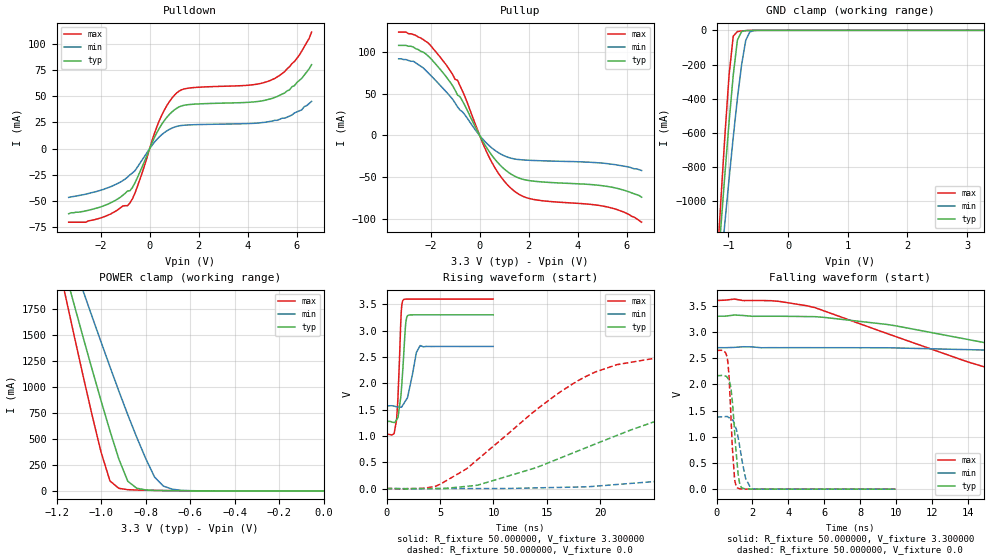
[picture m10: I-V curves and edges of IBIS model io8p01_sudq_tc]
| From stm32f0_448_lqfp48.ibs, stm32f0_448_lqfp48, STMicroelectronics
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|   Model io8p01_sudq_tc
[Model]  io8p01_sudq_tc
Model_type I/O
Polarity   Non-Inverting
Enable   Active-Low
Vinl =   0.990000V
Vinh =   2.310000V
Vmeas =  1.650000V
Cref =   50.000000pF
Rref =   100.000000M
Vref =   0.0V
C_comp   1.329900pF   1.255600pF   1.431200pF
[Temperature Range]   25.000000   0.125000k   -40.000000
[Pullup Reference]   3.300000V   2.700000V   3.600000V
[Pulldown Reference]   0.0V   0.0V   0.0V
[POWER Clamp Reference]   3.300000V   2.700000V   3.600000V
[GND Clamp Reference]   0.0V   0.0V   0.0V
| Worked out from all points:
|   slope of the pulldown table from 0 to 0.495 V, typ, clamps not added: 21.3 ohm
|   slope of the pullup table from 0 to 0.495 V, typ, clamps not added: 20.9 ohm
|   GND clamp passes 1 mA (typ) near -0.67 V on its own axis
|   POWER clamp passes 1 mA (typ) near -0.60 V on its own axis
|   rising waveform, R_fixture 50.000000, V_fixture 3.300000: 20-80 % time 415ps typ, 659ps min, 304ps max; typ from 1.27 V to 3.3 V
|   rising waveform, R_fixture 50.000000, V_fixture 0.0: 20-80 % time 18.4ns typ, 45.6ns min, 10.1ns max; typ from 0 V to 2.17 V
|   falling waveform, R_fixture 50.000000, V_fixture 3.300000: 20-80 % time 25.7ns typ, 44.2ns min, 16.4ns max; typ from 3.3 V to 1.27 V
|   falling waveform, R_fixture 50.000000, V_fixture 0.0: 20-80 % time 301ps typ, 443ps min, 235ps max; typ from 2.17 V to 0 V
[Pulldown]
|Voltage   I(typ)   I(min)   I(max)
-3.3V     -62mA      -46.4mA    -70mA
-2V       -55.5mA    -39.6mA    -66mA
-800mV    -40.04mA   -24.89mA   -51.58mA
-500mV    -27.57mA   -17.6mA    -36.07mA
400mV     19.71mA    11.36mA    27.01mA
700mV     29.83mA    16.93mA    40.97mA
1.1V      38.46mA    21.2mA     53.02mA
1.6V      41.98mA    22.62mA    57.7mA
4.1V      44.26mA    24mA       60.59mA
5V        47.9mA     26.3mA     65.8mA
5.9V      60mA       34mA       83mA
6.6V      80mA       45mA       111mA
[Pullup]
|Voltage   I(typ)   I(min)   I(max)
-3.3V     108mA      92mA       124mA
-2.7V     106mA      89mA       121mA
-2.2V     98mA       78.2mA     113mA
-1.4V     71.8mA     53.5mA     86.1mA
-900mV    48.51mA    34.23mA    66.14mA
-700mV    41.33mA    28.36mA    53.31mA
400mV     -19.77mA   -12.52mA   -26.8mA
900mV     -37.48mA   -22.89mA   -50.99mA
1.4V      -48.39mA   -28.06mA   -66.43mA
2.2V      -54.79mA   -29.98mA   -76.75mA
5.3V      -61.6mA    -34.2mA    -86.4mA
6.6V      -74mA      -42mA      -104mA
[GND_clamp]
|Voltage   I(typ)   I(min)   I(max)
-3.3V     -9.739A    -9.975A    -9.587A
-1.2V     -1.489A    -1.65A     -1.416A
-1.13V    -1.162A    -1.385A    -1.009A
-1.06V    -842.2mA   -1.125A    -616.9mA
-990mV    -537.1mA   -870.1mA   -263mA
-920mV    -262.4mA   -625.3mA   -33.96mA
-850mV    -56.94mA   -397.4mA   -7.08mA
-780mV    -7.011mA   -202.2mA   -3.71mA
-710mV    -1.778mA   -58.23mA   -1.736mA
-640mV    -550uA     -8.783mA   -542.4uA
-570mV    -109.8uA   -1.292mA   -86.89uA
3.28V     0A         0A         0A
[POWER_clamp]
|Voltage   I(typ)   I(min)   I(max)
-3.28V    9.897A     9.838A     9.594A
-1.16V    2.103A     2.419A     1.88A
-1.12V    1.788A     2.17A      1.488A
-1.08V    1.476A     1.923A     1.102A
-1V       868.1mA    1.435A     373.1mA
-960mV    578.2mA    1.196A     96.06mA
-880mV    93.24mA    734.1mA    12.01mA
-840mV    26.3mA     517.4mA    8.56mA
-760mV    5.106mA    134mA      5.119mA
-720mV    3.355mA    46.34mA    3.808mA
-600mV    1.005mA    2.564mA    1.072mA
0V        0A         0A         0A
[Ramp]
| variable   typ   min   max
dV/dt_r  1.30032/18.37567n   0.82686/45.50508n   1.58898/10.13318n
dV/dt_f  1.21512/25.71869n   0.67734/44.12424n   1.54260/16.40231n
R_load = 50.000000
[Rising Waveform]
R_fixture= 50.000000
V_fixture= 3.300000
V_fixture_min= 2.700000
V_fixture_max= 3.600000
|time   V(typ)   V(min)   V(max)
0s        1.275V     1.571V     1.029V
700.7ps   1.256V     1.567V     1.042V
940.9ps   1.309V     1.554V     1.306V
1.061ns   1.347V     1.549V     1.698V
1.381ns   1.855V     1.545V     3.367V
1.582ns   2.457V     1.604V     3.588V
1.902ns   3.262V     1.708V     3.599V
2.783ns   3.3V       2.578V     3.6V
3.143ns   3.3V       2.716V     3.6V
9.97ns    3.3V       2.7V       3.6V
[Rising Waveform]
R_fixture= 50.000000
V_fixture= 0.0
V_fixture_min= 0.0
V_fixture_max= 0.0
|time   V(typ)   V(min)   V(max)
0s        1.051nV    9.611nV    1.582nV
5.005ns   469.8uV    -186.9uV   81.71mV
8.509ns   63.64mV    54.44uV    550.2mV
15.52ns   520.2mV    19.22mV    1.729V
19.52ns   846.5mV    44.88mV    2.215V
25.53ns   1.304V     140.6mV    2.491V
33.53ns   1.763V     268.3mV    2.593V
47.55ns   2.063V     575.7mV    2.637V
88.59ns   2.166V     1.191V     2.649V
249.2ns   2.167V     1.378V     2.648V
[Falling Waveform]
R_fixture= 50.000000
V_fixture= 3.300000
V_fixture_min= 2.700000
V_fixture_max= 3.600000
|time   V(typ)   V(min)   V(max)
0s        3.3V       2.7V       3.6V
3.003ns   3.3V       2.7V       3.598V
5.506ns   3.292V     2.7V       3.462V
14.01ns   2.857V     2.662V     2.428V
21.52ns   2.389V     2.546V     1.754V
30.03ns   1.984V     2.38V      1.304V
40.04ns   1.664V     2.188V     1.114V
66.07ns   1.336V     1.83V      1.036V
105.6ns   1.278V     1.625V     1.028V
249.2ns   1.275V     1.571V     1.029V
[Falling Waveform]
R_fixture= 50.000000
V_fixture= 0.0
V_fixture_min= 0.0
V_fixture_max= 0.0
|time   V(typ)   V(min)   V(max)
0s        2.167V     1.378V     2.648V
620.6ps   2.121V     1.382V     2.449V
700.7ps   2.075V     1.363V     2.13V
820.8ps   1.878V     1.334V     1.257V
1.001ns   1.131V     1.241V     223mV
1.161ns   445.9mV    1.058V     25.76mV
1.381ns   33.8mV     632.9mV    3.628mV
1.622ns   5.857mV    204.8mV    542.5uV
1.942ns   613uV      4.191mV    128.7uV
9.97ns    1.051nV    9.611nV    1.582nV
